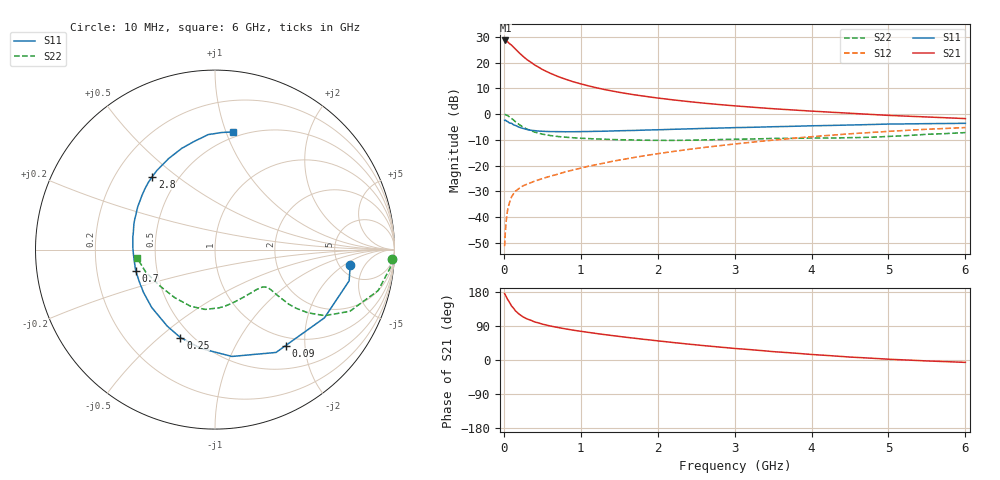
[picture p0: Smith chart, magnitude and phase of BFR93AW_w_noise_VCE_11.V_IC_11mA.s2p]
! (c) 2017  Infineon Technologies AG, Munich
! Infineon Technologies  Discrete & RF Semiconductors
! BFR93AW
! VCE =  11. V,  IC =  11 mA
! Common Emitter S-Parameters:  Jan 2017
# GHz  S  MA  R  50
!  f  S11  S21  S12  S22
! GHz  MAG  ANG  MAG  ANG  MAG  ANG  MAG  ANG
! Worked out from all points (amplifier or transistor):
!   77 points, 10 MHz to 6 GHz, reference 50 ohm
!   highest |S21| = 28.7 dB at 20 MHz (marker M1)
!   |S21| within 3 dB of that: start of sweep to 138.7 MHz
!   unconditionally stable (mu >= 1): 860.3 MHz to 2.088 GHz
!   at 130 MHz: K = 0.31, MSG = 28.4 dB, |S12| = -30.8 dB
!   at 2.2 GHz: K = 0.99, MSG = 10.0 dB, |S12| = -14.5 dB
!   at 6 GHz: K = 0.85, MSG = 1.7 dB, |S12| = -5.2 dB
!   lowest NFmin = 1.26 dB at 450 MHz
!   S11 on the Smith chart (normalised r, x): 10 MHz: 6.21, -2.55; 90 MHz: 0.86, -1.64; 250 MHz: 0.43, -0.59; 700 MHz: 0.38, -0.11; 2.8 GHz: 0.36, +0.41; 6 GHz: 0.45, +1.06
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0.01  0.7585 -6.6  26.97 175.3  0.0027 82.1  0.99 -2.9
0.02  0.7673 -13.1  27.15 171.4  0.0052 80.3  0.9811 -6.0
0.05  0.7187 -31.9  25.48 159.4  0.014 74.1  0.9372 -14.1
0.09  0.664 -53.6  22.55 146.3  0.0224 66.2  0.8466 -22.2
0.1  0.6663 -59.3  22.03 142.6  0.0246 65.1  0.827 -24.5
0.15  0.6027 -81.0  18.51 130.0  0.0316 58.1  0.7148 -31.0
0.2  0.5562 -98.1  15.56 120.8  0.036 55.0  0.627 -34.2
0.25  0.5265 -111.5  13.33 113.7  0.0403 52.7  0.5606 -35.8
0.3  0.5027 -121.9  11.53 108.5  0.0433 52.2  0.511 -36.5
0.4  0.4779 -137.5  9.071 100.5  0.0496 53.6  0.4479 -36.3
0.5  0.4645 -149.0  7.411 94.7  0.0557 55.9  0.4083 -36.0
0.6  0.4579 -157.6  6.28 89.9  0.0618 57.4  0.384 -35.7
0.7  0.4571 -164.9  5.427 85.9  0.0678 59.7  0.3677 -35.7
0.9  0.4549 -176.2  4.277 78.8  0.082 61.8  0.3475 -36.8
1.1  0.4595 175.2  3.549 72.9  0.0971 64.0  0.3346 -38.9
1.5  0.475 161.8  2.659 62.2  0.1278 65.8  0.3183 -45.8
2.1  0.5014 145.6  1.976 48.4  0.1788 64.9  0.3089 -60.7
2.8  0.5362 130.6  1.538 34.2  0.2428 61.4  0.3207 -80.6
3.1  0.5499 124.5  1.413 29.0  0.2724 59.1  0.3264 -88.8
4.1  0.5971 106.6  1.124 13.3  0.3739 49.8  0.3425 -116.8
5.1  0.6434 92.1  0.933 1.2  0.4711 38.5  0.374 -150.2
6  0.6634 81.1  0.82 -6.3  0.5481 27.6  0.4376 -174.1
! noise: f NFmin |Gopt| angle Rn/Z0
0.45  1.26  0.12  111  0.13
0.9  1.57  0.23  157  0.14
1.9  2.62  0.47  -146  0.18
2.4  3.24  0.54  -130  0.37
